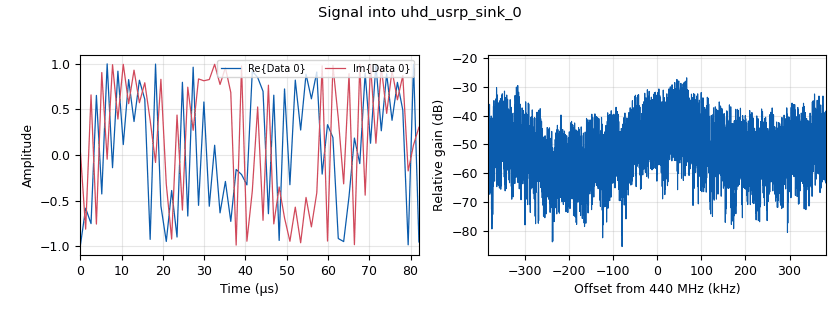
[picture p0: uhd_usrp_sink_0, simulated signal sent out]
<?xml version='1.0' encoding='utf-8'?>
<?grc format='1' created='3.7.8'?>
<flow_graph>
<block>
<key>options</key>
<param><key>id</key><value>top_block</value></param>
<param><key>category</key><value>Custom</value></param>
<param><key>generate_options</key><value>wx_gui</value></param>
</block>
<block>
<key>variable</key>
<param><key>id</key><value>fc</value></param>
<param><key>value</key><value>440.e6</value></param>
</block>
<block>
<key>variable</key>
<param><key>id</key><value>frx</value></param>
<param><key>value</key><value>2*fc+1000</value></param>
</block>
<block>
<key>variable</key>
<param><key>id</key><value>fsa</value></param>
<param><key>value</key><value>48e3</value></param>
</block>
<block>
<key>variable_slider</key>
<param><key>id</key><value>mod</value></param>
<param><key>converver</key><value>float_converter</value></param>
<param><key>value</key><value>1</value></param>
<param><key>label</key><value>mod depth 0..1*75k</value></param>
<param><key>max</key><value>1</value></param>
<param><key>min</key><value>0</value></param>
<param><key>num_steps</key><value>100</value></param>
<param><key>style</key><value>wx.SL_HORIZONTAL</value></param>
</block>
<block>
<key>variable_slider</key>
<param><key>id</key><value>rxgain</value></param>
<param><key>converver</key><value>float_converter</value></param>
<param><key>value</key><value>50</value></param>
<param><key>label</key><value>RX Gain (db)</value></param>
<param><key>max</key><value>80</value></param>
<param><key>min</key><value>0</value></param>
<param><key>num_steps</key><value>100</value></param>
<param><key>style</key><value>wx.SL_HORIZONTAL</value></param>
</block>
<block>
<key>variable</key>
<param><key>id</key><value>samp_rate</value></param>
<param><key>value</key><value>768000</value></param>
</block>
<block>
<key>variable_slider</key>
<param><key>id</key><value>txgain</value></param>
<param><key>converver</key><value>float_converter</value></param>
<param><key>value</key><value>50</value></param>
<param><key>label</key><value>TX Gain (db)</value></param>
<param><key>max</key><value>80</value></param>
<param><key>min</key><value>0</value></param>
<param><key>num_steps</key><value>100</value></param>
<param><key>style</key><value>wx.SL_HORIZONTAL</value></param>
</block>
<block>
<key>analog_sig_source_x</key>
<param><key>id</key><value>analog_sig_source_x_0</value></param>
<param><key>amp</key><value>mod</value></param>
<param><key>freq</key><value>1000</value></param>
<param><key>offset</key><value>0</value></param>
<param><key>type</key><value>float</value></param>
<param><key>samp_rate</key><value>fsa</value></param>
<param><key>waveform</key><value>analog.GR_SAW_WAVE</value></param>
</block>
<block>
<key>analog_wfm_tx</key>
<param><key>id</key><value>analog_wfm_tx_0</value></param>
<param><key>audio_rate</key><value>int(fsa)</value></param>
<param><key>max_dev</key><value>75e3</value></param>
<param><key>quad_rate</key><value>samp_rate</value></param>
<param><key>tau</key><value>75e-6</value></param>
</block>
<block>
<key>uhd_usrp_sink</key>
<param><key>id</key><value>uhd_usrp_sink_0</value></param>
<param><key>ant0</key><value>TX/RX</value></param>
<param><key>bw0</key><value>samp_rate</value></param>
<param><key>center_freq0</key><value>fc</value></param>
<param><key>norm_gain0</key><value>False</value></param>
<param><key>gain0</key><value>txgain</value></param>
<param><key>clock_rate</key><value>0.0</value></param>
<param><key>dev_args</key><value>""</value></param>
<param><key>type</key><value>fc32</value></param>
<param><key>len_tag_name</key><value></value></param>
<param><key>samp_rate</key><value>samp_rate</value></param>
<param><key>sync</key><value></value></param>
</block>
<block>
<key>uhd_usrp_source</key>
<param><key>id</key><value>uhd_usrp_source_0</value></param>
<param><key>ant0</key><value>RX2</value></param>
<param><key>bw0</key><value>30*samp_rate</value></param>
<param><key>center_freq0</key><value>frx</value></param>
<param><key>norm_gain0</key><value>False</value></param>
<param><key>gain0</key><value>rxgain</value></param>
<param><key>clock_rate</key><value>0.0</value></param>
<param><key>dev_args</key><value>""</value></param>
<param><key>type</key><value>fc32</value></param>
<param><key>samp_rate</key><value>30*samp_rate</value></param>
<param><key>sync</key><value></value></param>
</block>
<block>
<key>wxgui_fftsink2</key>
<param><key>id</key><value>wxgui_fftsink2_0</value></param>
<param><key>avg_alpha</key><value>0</value></param>
<param><key>average</key><value>False</value></param>
<param><key>baseband_freq</key><value>frx</value></param>
<param><key>fft_size</key><value>1024</value></param>
<param><key>freqvar</key><value>None</value></param>
<param><key>peak_hold</key><value>False</value></param>
<param><key>ref_level</key><value>0</value></param>
<param><key>ref_scale</key><value>2.0</value></param>
<param><key>fft_rate</key><value>15</value></param>
<param><key>samp_rate</key><value>30*samp_rate</value></param>
<param><key>title</key><value>FFT Plot</value></param>
<param><key>type</key><value>complex</value></param>
<param><key>win</key><value>None</value></param>
<param><key>y_divs</key><value>10</value></param>
<param><key>y_per_div</key><value>10</value></param>
</block>
<connection><source_block_id>analog_sig_source_x_0</source_block_id><sink_block_id>analog_wfm_tx_0</sink_block_id><source_key>0</source_key><sink_key>0</sink_key></connection>
<connection><source_block_id>analog_wfm_tx_0</source_block_id><sink_block_id>uhd_usrp_sink_0</sink_block_id><source_key>0</source_key><sink_key>0</sink_key></connection>
<connection><source_block_id>uhd_usrp_source_0</source_block_id><sink_block_id>wxgui_fftsink2_0</sink_block_id><source_key>0</source_key><sink_key>0</sink_key></connection>
</flow_graph>
